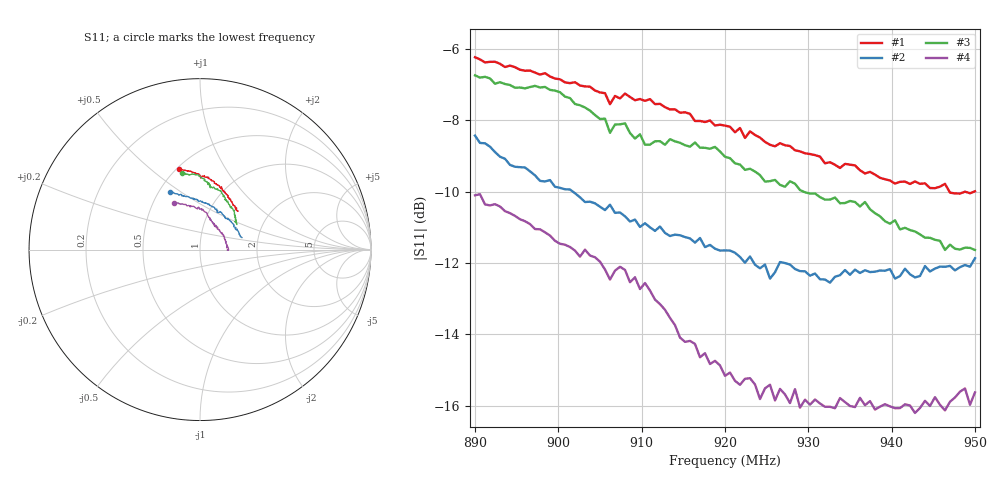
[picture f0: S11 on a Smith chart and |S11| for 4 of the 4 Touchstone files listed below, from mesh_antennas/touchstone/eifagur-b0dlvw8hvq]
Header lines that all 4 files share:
# HZ S RI R 50
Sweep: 890 MHz to 950 MHz
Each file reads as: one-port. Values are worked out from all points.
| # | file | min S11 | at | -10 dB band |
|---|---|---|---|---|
| 1 | gp-none_kg5hzc.s1p | -10.1 dB | 948.2 MHz | 3.006 MHz wide |
| 2 | gp-none_kg5hzc_sample2.s1p | -12.6 dB | 932.6 MHz | over 48.27 MHz wide |
| 3 | handheld_n5eks.s1p | -11.6 dB | 950 MHz | over 20.61 MHz wide |
| 4 | handheld_n5eks_sample2.s1p | -16.2 dB | 942.8 MHz | over 60 MHz wide |
